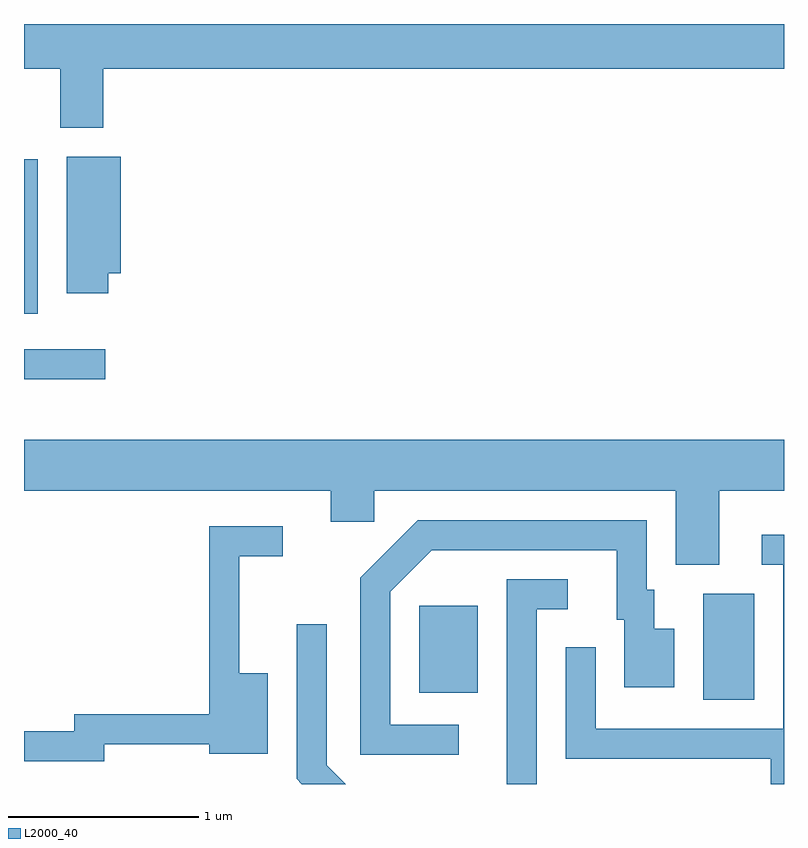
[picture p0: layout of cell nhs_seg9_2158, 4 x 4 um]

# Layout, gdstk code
import gdstk
lib = gdstk.Library(unit=1e-6, precision=1e-09)
def R(c, l, rs):  # rectangles x0, y0, x1, y1
    for r in rs: c.add(gdstk.rectangle(r[:2], r[2:], *l))
def P(c, l, *ps):  # polygons
    for p in ps: c.add(gdstk.Polygon(p, *l))
L2000_40 = (2000, 40)

nhs_seg9_2158 = lib.new_cell('nhs_seg9_2158')
R(nhs_seg9_2158, L2000_40, [(251.186,2052.876,251.454,2053.434), (249.691,2052.911,249.999,2053.369), (247.611,2054.561,248.038,2054.719), (247.611,2054.906,247.684,2055.719)])
P(nhs_seg9_2158, L2000_40, [(248.029,2056.196),(251.611,2056.196),(251.611,2056.432),(247.611,2056.432),(247.611,2056.196),(247.801,2056.196),(247.801,2055.886),(248.029,2055.886)],
  [(248.054,2055.121),(248.119,2055.121),(248.119,2055.734),(247.836,2055.734),(247.836,2055.016),(248.054,2055.016)],
  [(251.269,2053.976),(251.611,2053.976),(251.611,2054.244),(247.611,2054.244),(247.611,2053.976),(249.226,2053.976),(249.226,2053.811),(249.454,2053.811),(249.454,2053.976),(251.041,2053.976),(251.041,2053.586),(251.269,2053.586)],
  [(249.898,2052.744),(249.539,2052.744),(249.539,2053.443),(249.757,2053.661),(250.731,2053.661),(250.731,2053.296),(250.771,2053.296),(250.771,2052.941),(251.034,2052.941),(251.034,2053.249),(250.929,2053.249),(250.929,2053.454),(250.889,2053.454),(250.889,2053.819),(249.684,2053.819),(249.381,2053.517),(249.381,2052.586),(249.898,2052.586)],
  [(248.034,2052.641),(248.586,2052.641),(248.586,2052.591),(248.894,2052.591),(248.894,2053.014),(248.744,2053.014),(248.744,2053.631),(248.973,2053.631),(248.973,2053.789),(248.586,2053.789),(248.586,2052.799),(247.876,2052.799),(247.876,2052.709),(247.611,2052.709),(247.611,2052.551),(248.034,2052.551)],
  [(251.611,2053.744),(251.493,2053.744),(251.493,2053.586),(251.606,2053.586),(251.606,2052.724),(250.619,2052.724),(250.619,2053.153),(250.461,2053.153),(250.461,2052.566),(251.541,2052.566),(251.541,2052.432),(251.611,2052.432)],
  [(250.309,2053.351),(250.473,2053.351),(250.473,2053.509),(250.151,2053.509),(250.151,2052.432),(250.309,2052.432)],
  [(249.204,2052.532),(249.204,2053.273),(249.046,2053.273),(249.046,2052.459),(249.073,2052.432),(249.304,2052.432)])

lib.write_gds('nhs_seg9_2158.gds')
